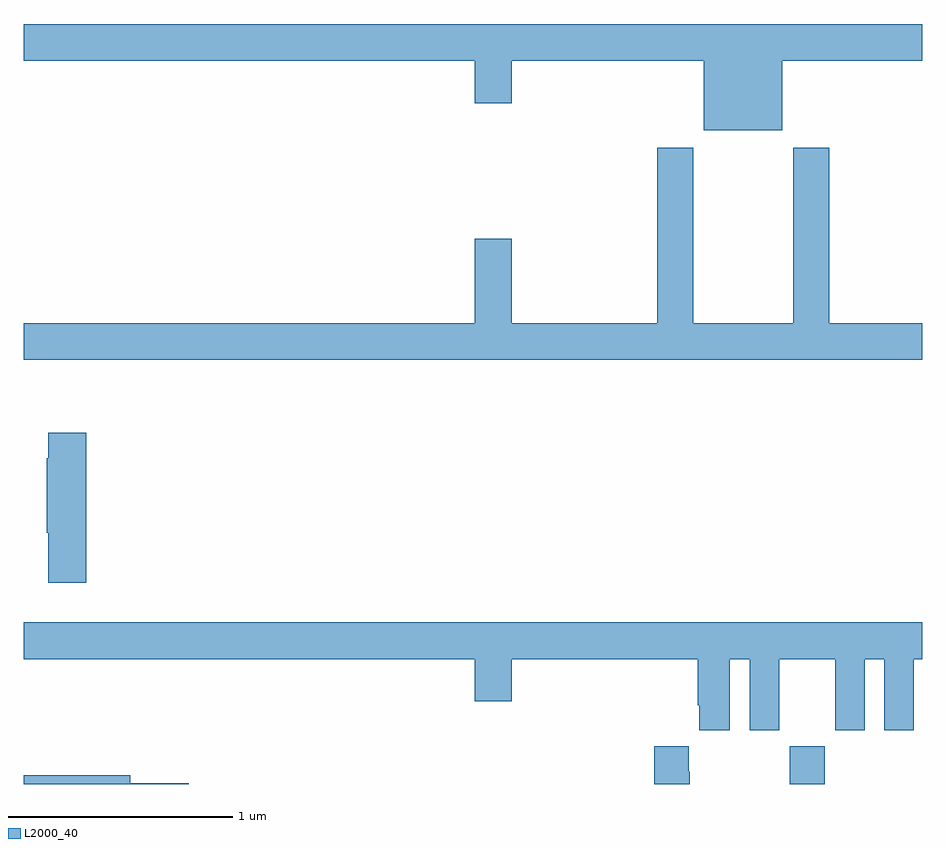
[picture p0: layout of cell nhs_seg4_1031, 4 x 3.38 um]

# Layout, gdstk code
import gdstk
lib = gdstk.Library(unit=1e-6, precision=1e-09)
def R(c, l, rs):  # rectangles x0, y0, x1, y1
    for r in rs: c.add(gdstk.rectangle(r[:2], r[2:], *l))
def P(c, l, *ps):  # polygons
    for p in ps: c.add(gdstk.Polygon(p, *l))
L2000_40 = (2000, 40)

nhs_seg4_1031 = lib.new_cell('nhs_seg4_1031')
R(nhs_seg4_1031, L2000_40, [(166.411,826.9,166.566,827.068)])
P(nhs_seg4_1031, L2000_40, [(166.378,830.12),(167,830.12),(167,830.284),(163,830.284),(163,830.12),(165.008,830.12),(165.008,829.932),(165.172,829.932),(165.172,830.12),(166.028,830.12),(166.028,829.811),(166.378,829.811)],
  [(167,828.952),(166.586,828.952),(166.586,829.732),(166.426,829.732),(166.426,828.952),(165.981,828.952),(165.981,829.732),(165.821,829.732),(165.821,828.952),(165.172,828.952),(165.172,829.327),(165.008,829.327),(165.008,828.952),(163,828.952),(163,828.788),(167,828.788)],
  [(163.277,828.463),(163.109,828.463),(163.109,828.35),(163.102,828.35),(163.102,828.019),(163.109,828.019),(163.109,827.796),(163.277,827.796)],
  [(166.144,827.456),(166.232,827.456),(166.232,827.139),(166.363,827.139),(166.363,827.456),(166.613,827.456),(166.613,827.139),(166.744,827.139),(166.744,827.456),(166.832,827.456),(166.832,827.139),(166.963,827.139),(166.963,827.456),(167,827.456),(167,827.62),(163,827.62),(163,827.456),(165.008,827.456),(165.008,827.268),(165.172,827.268),(165.172,827.456),(166.001,827.456),(166.001,827.251),(166.007,827.251),(166.007,827.139),(166.144,827.139)],
  [(165.966,826.955),(165.961,826.955),(165.961,827.068),(165.806,827.068),(165.806,826.9),(165.966,826.9)],
  [(163.735,826.904),(163.474,826.904),(163.474,826.94),(163,826.94),(163,826.9),(163.735,826.9)])

lib.write_gds('nhs_seg4_1031.gds')
